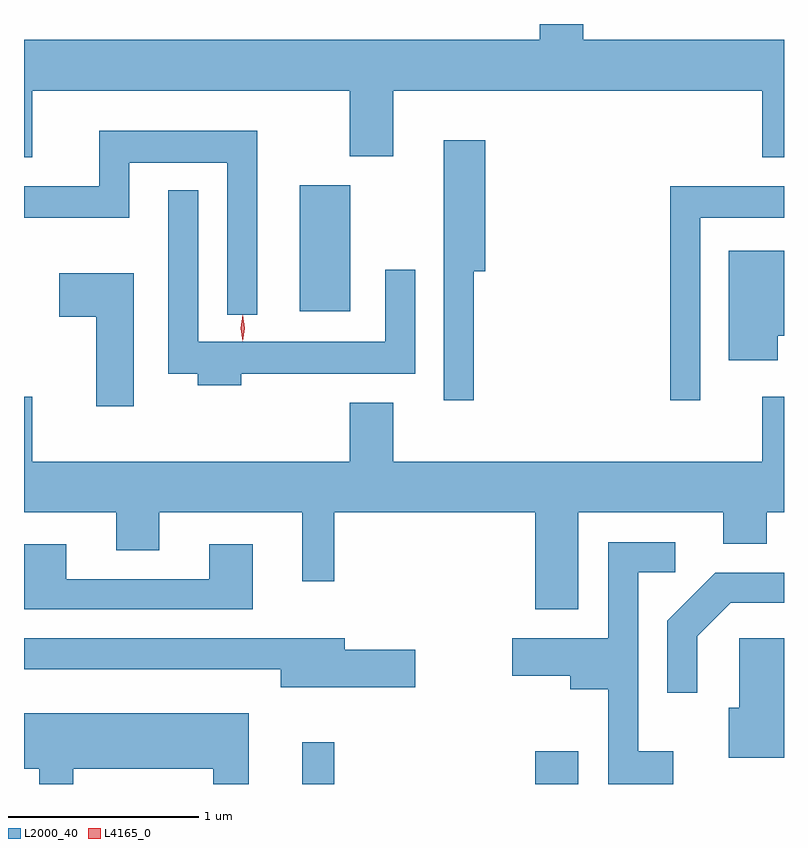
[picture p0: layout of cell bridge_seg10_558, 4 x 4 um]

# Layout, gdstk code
import gdstk
lib = gdstk.Library(unit=1e-6, precision=1e-09)
def R(c, l, rs):  # rectangles x0, y0, x1, y1
    for r in rs: c.add(gdstk.rectangle(r[:2], r[2:], *l))
def P(c, l, *ps):  # polygons
    for p in ps: c.add(gdstk.Polygon(p, *l))
L2000_40 = (2000, 40)
L4165_0 = (4165, 0)

bridge_seg10_558 = lib.new_cell('bridge_seg10_558')
R(bridge_seg10_558, L2000_40, [(779.521,2181.307,779.689,2181.528), (780.746,2181.307,780.974,2181.479), (779.506,2183.796,779.774,2184.459)])
P(bridge_seg10_558, L2000_40, [(778.099,2184.956),(779.771,2184.956),(779.771,2184.611),(779.999,2184.611),(779.999,2184.956),(781.941,2184.956),(781.941,2184.606),(782.056,2184.606),(782.056,2185.224),(780.999,2185.224),(780.999,2185.307),(780.771,2185.307),(780.771,2185.224),(778.056,2185.224),(778.056,2184.606),(778.099,2184.606)],
  [(779.284,2184.744),(778.451,2184.744),(778.451,2184.454),(778.056,2184.454),(778.056,2184.286),(778.609,2184.286),(778.609,2184.576),(779.126,2184.576),(779.126,2183.778),(779.284,2183.778)],
  [(780.424,2184.006),(780.484,2184.006),(780.484,2184.694),(780.266,2184.694),(780.266,2183.328),(780.424,2183.328)],
  [(781.614,2184.286),(782.056,2184.286),(782.056,2184.454),(781.456,2184.454),(781.456,2183.328),(781.614,2183.328)],
  [(779.199,2183.466),(780.114,2183.466),(780.114,2184.013),(779.956,2184.013),(779.956,2183.634),(778.974,2183.634),(778.974,2184.433),(778.816,2184.433),(778.816,2183.466),(778.971,2183.466),(778.971,2183.406),(779.199,2183.406)],
  [(782.024,2183.666),(782.056,2183.666),(782.056,2184.114),(781.766,2184.114),(781.766,2183.536),(782.024,2183.536)],
  [(778.634,2183.994),(778.241,2183.994),(778.241,2183.766),(778.436,2183.766),(778.436,2183.296),(778.634,2183.296)],
  [(780.974,2182.736),(781.736,2182.736),(781.736,2182.571),(781.964,2182.571),(781.964,2182.736),(782.056,2182.736),(782.056,2183.344),(781.941,2183.344),(781.941,2183.004),(779.999,2183.004),(779.999,2183.314),(779.771,2183.314),(779.771,2183.004),(778.099,2183.004),(778.099,2183.344),(778.056,2183.344),(778.056,2182.736),(778.541,2182.736),(778.541,2182.536),(778.769,2182.536),(778.769,2182.736),(779.521,2182.736),(779.521,2182.373),(779.689,2182.373),(779.689,2182.736),(780.746,2182.736),(780.746,2182.226),(780.974,2182.226)],
  [(781.474,2181.479),(781.289,2181.479),(781.289,2182.421),(781.483,2182.421),(781.483,2182.579),(781.131,2182.579),(781.131,2182.074),(780.626,2182.074),(780.626,2181.876),(780.931,2181.876),(780.931,2181.806),(781.131,2181.806),(781.131,2181.307),(781.474,2181.307)],
  [(779.259,2182.569),(779.031,2182.569),(779.031,2182.384),(778.279,2182.384),(778.279,2182.569),(778.056,2182.569),(778.056,2182.226),(779.259,2182.226)],
  [(781.599,2182.084),(781.777,2182.261),(782.056,2182.261),(782.056,2182.419),(781.694,2182.419),(781.441,2182.167),(781.441,2181.788),(781.599,2181.788)],
  [(780.114,2182.014),(779.744,2182.014),(779.744,2182.074),(778.056,2182.074),(778.056,2181.911),(779.406,2181.911),(779.406,2181.816),(780.114,2181.816)],
  [(782.056,2182.074),(781.821,2182.074),(781.821,2181.709),(781.766,2181.709),(781.766,2181.446),(782.056,2181.446)],
  [(778.314,2181.386),(779.051,2181.386),(779.051,2181.307),(779.239,2181.307),(779.239,2181.679),(778.056,2181.679),(778.056,2181.386),(778.136,2181.386),(778.136,2181.307),(778.314,2181.307)])
P(bridge_seg10_558, L4165_0, [(779.207,2183.637),(779.198,2183.707),(779.207,2183.776),(779.208,2183.776),(779.208,2183.776),(779.218,2183.707),(779.208,2183.637),(779.208,2183.637)],
  [(779.206,2183.64),(779.206,2183.64),(779.196,2183.706),(779.206,2183.772),(779.206,2183.773),(779.207,2183.772),(779.216,2183.706),(779.207,2183.64)])

lib.write_gds('bridge_seg10_558.gds')
